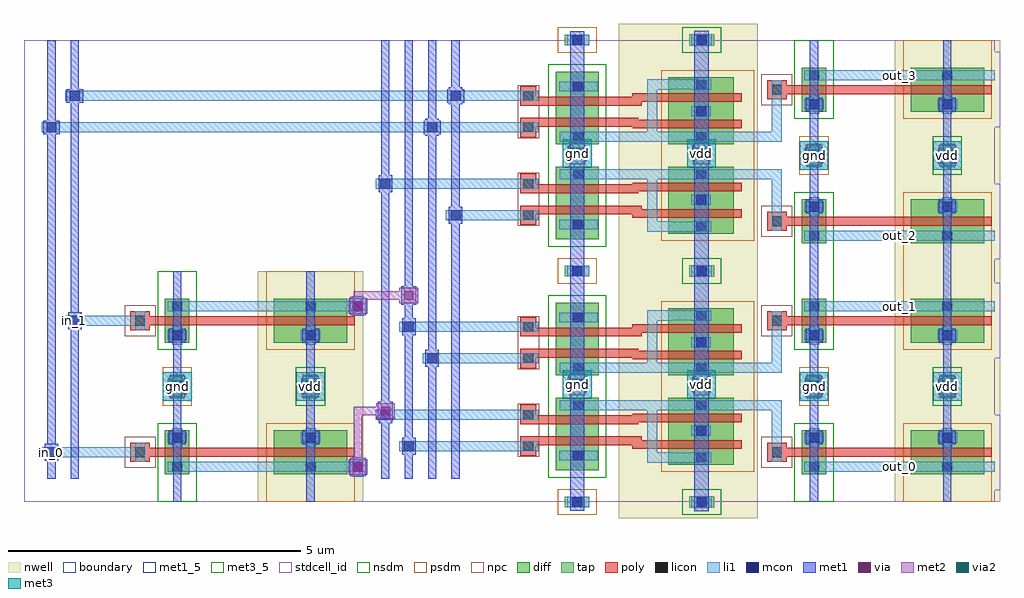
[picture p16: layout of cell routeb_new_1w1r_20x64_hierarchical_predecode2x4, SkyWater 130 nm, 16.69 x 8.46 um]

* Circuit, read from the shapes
.subckt routeb_new_1w1r_20x64_hierarchical_predecode2x4 gnd in_0 in_1 out_0 out_1 out_2 out_3 vdd
XM1 gnd in_0 routeb_new_1w1r_20x64_and2_dec_2/A gnd sky130_fd_pr__nfet_01v8 w=0.42 l=0.15
XM2 routeb_new_1w1r_20x64_and2_dec_2/B in_1 gnd gnd sky130_fd_pr__nfet_01v8 w=0.42 l=0.15
XM3 n1 routeb_new_1w1r_20x64_and2_dec_2/B gnd gnd sky130_fd_pr__nfet_01v8 w=0.74 l=0.15
XM4 routeb_new_1w1r_20x64_and2_dec_2/routeb_new_1w1r_20x64_pinv_dec_1/A routeb_new_1w1r_20x64_and2_dec_2/A n1 gnd sky130_fd_pr__nfet_01v8 w=0.74 l=0.15
XM5 n2 in_0 routeb_new_1w1r_20x64_and2_dec_3/routeb_new_1w1r_20x64_pinv_dec_1/A gnd sky130_fd_pr__nfet_01v8 w=0.74 l=0.15
XM6 gnd routeb_new_1w1r_20x64_and2_dec_2/B n2 gnd sky130_fd_pr__nfet_01v8 w=0.74 l=0.15
XM7 n3 in_1 gnd gnd sky130_fd_pr__nfet_01v8 w=0.74 l=0.15
XM8 routeb_new_1w1r_20x64_and2_dec_4/routeb_new_1w1r_20x64_pinv_dec_1/A routeb_new_1w1r_20x64_and2_dec_2/A n3 gnd sky130_fd_pr__nfet_01v8 w=0.74 l=0.15
XM9 n4 in_0 routeb_new_1w1r_20x64_and2_dec_5/routeb_new_1w1r_20x64_pinv_dec_1/A gnd sky130_fd_pr__nfet_01v8 w=0.74 l=0.15
XM10 gnd in_1 n4 gnd sky130_fd_pr__nfet_01v8 w=0.74 l=0.15
XM11 gnd routeb_new_1w1r_20x64_and2_dec_2/routeb_new_1w1r_20x64_pinv_dec_1/A out_0 gnd sky130_fd_pr__nfet_01v8 w=0.42 l=0.15
XM12 out_1 routeb_new_1w1r_20x64_and2_dec_3/routeb_new_1w1r_20x64_pinv_dec_1/A gnd gnd sky130_fd_pr__nfet_01v8 w=0.42 l=0.15
XM13 gnd routeb_new_1w1r_20x64_and2_dec_4/routeb_new_1w1r_20x64_pinv_dec_1/A out_2 gnd sky130_fd_pr__nfet_01v8 w=0.42 l=0.15
XM14 out_3 routeb_new_1w1r_20x64_and2_dec_5/routeb_new_1w1r_20x64_pinv_dec_1/A gnd gnd sky130_fd_pr__nfet_01v8 w=0.42 l=0.15
XM15 vdd in_0 routeb_new_1w1r_20x64_and2_dec_2/A vdd sky130_fd_pr__pfet_01v8 w=1.26 l=0.15
XM16 routeb_new_1w1r_20x64_and2_dec_2/B in_1 vdd vdd sky130_fd_pr__pfet_01v8 w=1.26 l=0.15
XM17 vdd routeb_new_1w1r_20x64_and2_dec_2/B routeb_new_1w1r_20x64_and2_dec_2/routeb_new_1w1r_20x64_pinv_dec_1/A vdd sky130_fd_pr__pfet_01v8 w=1.12 l=0.15
XM18 routeb_new_1w1r_20x64_and2_dec_2/routeb_new_1w1r_20x64_pinv_dec_1/A routeb_new_1w1r_20x64_and2_dec_2/A vdd vdd sky130_fd_pr__pfet_01v8 w=1.12 l=0.15
XM19 vdd in_0 routeb_new_1w1r_20x64_and2_dec_3/routeb_new_1w1r_20x64_pinv_dec_1/A vdd sky130_fd_pr__pfet_01v8 w=1.12 l=0.15
XM20 routeb_new_1w1r_20x64_and2_dec_3/routeb_new_1w1r_20x64_pinv_dec_1/A routeb_new_1w1r_20x64_and2_dec_2/B vdd vdd sky130_fd_pr__pfet_01v8 w=1.12 l=0.15
XM21 vdd in_1 routeb_new_1w1r_20x64_and2_dec_4/routeb_new_1w1r_20x64_pinv_dec_1/A vdd sky130_fd_pr__pfet_01v8 w=1.12 l=0.15
XM22 routeb_new_1w1r_20x64_and2_dec_4/routeb_new_1w1r_20x64_pinv_dec_1/A routeb_new_1w1r_20x64_and2_dec_2/A vdd vdd sky130_fd_pr__pfet_01v8 w=1.12 l=0.15
XM23 vdd in_0 routeb_new_1w1r_20x64_and2_dec_5/routeb_new_1w1r_20x64_pinv_dec_1/A vdd sky130_fd_pr__pfet_01v8 w=1.12 l=0.15
XM24 routeb_new_1w1r_20x64_and2_dec_5/routeb_new_1w1r_20x64_pinv_dec_1/A in_1 vdd vdd sky130_fd_pr__pfet_01v8 w=1.12 l=0.15
XM25 vdd routeb_new_1w1r_20x64_and2_dec_2/routeb_new_1w1r_20x64_pinv_dec_1/A out_0 vdd sky130_fd_pr__pfet_01v8 w=1.26 l=0.15
XM26 out_1 routeb_new_1w1r_20x64_and2_dec_3/routeb_new_1w1r_20x64_pinv_dec_1/A vdd vdd sky130_fd_pr__pfet_01v8 w=1.26 l=0.15
XM27 vdd routeb_new_1w1r_20x64_and2_dec_4/routeb_new_1w1r_20x64_pinv_dec_1/A out_2 vdd sky130_fd_pr__pfet_01v8 w=1.26 l=0.15
XM28 out_3 routeb_new_1w1r_20x64_and2_dec_5/routeb_new_1w1r_20x64_pinv_dec_1/A vdd vdd sky130_fd_pr__pfet_01v8 w=1.26 l=0.15
.ends

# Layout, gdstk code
from math import pi, radians
import gdstk
lib = gdstk.Library(unit=1e-6, precision=1e-09)
def R(c, l, rs):  # rectangles x0, y0, x1, y1
    for r in rs: c.add(gdstk.rectangle(r[:2], r[2:], *l))
def A(c, l, x, y, w, h, nx, ny, dx, dy):  # array of equal rectangles
    R(c, l, [(x+i*dx, y+j*dy, x+i*dx+w, y+j*dy+h) for i in range(nx) for j in range(ny)])
nwell = (64, 20)
diff = (65, 20)
tap = (65, 44)
poly = (66, 20)
licon = (66, 44)
li1 = (67, 20)
mcon = (67, 44)
met1_5 = (68, 5)
met1 = (68, 20)
via = (68, 44)
met2 = (69, 20)
via2 = (69, 44)
met3_5 = (70, 5)
met3 = (70, 20)
stdcell_id = (81, 4)
nsdm = (93, 44)
psdm = (94, 20)
npc = (95, 20)
boundary = (235, 4)

routeb_new_1w1r_20x64_co = lib.new_cell('routeb_new_1w1r_20x64_contact_11')
R(routeb_new_1w1r_20x64_co, nwell, [(-0.295,-0.255,0.545,0.585)])
R(routeb_new_1w1r_20x64_co, diff, [(0,0.02,0.25,0.31)])
R(routeb_new_1w1r_20x64_co, licon, [(0.04,0.08,0.21,0.25)])
R(routeb_new_1w1r_20x64_co, li1, [(0.04,0,0.21,0.33)])
R(routeb_new_1w1r_20x64_co, stdcell_id, [(-0.295,-0.255,0.545,0.585)])
R(routeb_new_1w1r_20x64_co, psdm, [(-0.125,-0.105,0.375,0.435)])
R(routeb_new_1w1r_20x64_co, boundary, [(-0.295,-0.255,0.545,0.585)])

routeb_new_1w1r_20x64_pm = lib.new_cell('routeb_new_1w1r_20x64_pmos_m1_w1_260_sli_dli_da_p')
R(routeb_new_1w1r_20x64_pm, nwell, [(-0.27,-0.27,1.02,1.53)])
R(routeb_new_1w1r_20x64_pm, diff, [(0,0,0.75,1.26)])
R(routeb_new_1w1r_20x64_pm, poly, [(0.3,-0.13,0.45,1.39), (0.3,-0.13,0.45,1.39)])
R(routeb_new_1w1r_20x64_pm, li1, [(0.04,0.465,0.21,0.795), (0.54,0.465,0.71,0.795)])
R(routeb_new_1w1r_20x64_pm, stdcell_id, [(-0.27,-0.27,1.02,1.53)])
R(routeb_new_1w1r_20x64_pm, psdm, [(-0.125,-0.125,0.875,1.385)])
R(routeb_new_1w1r_20x64_pm, boundary, [(-0.27,-0.27,1.02,1.53)])
routeb_new_1w1r_20x64_pm.add(gdstk.Reference(routeb_new_1w1r_20x64_co, (0,0.465)))
routeb_new_1w1r_20x64_pm.add(gdstk.Reference(routeb_new_1w1r_20x64_co, (0.5,0.465)))
routeb_new_1w1r_20x64_pm.add(gdstk.Label('G', (0.375,0.63), layer=66, texttype=5))
routeb_new_1w1r_20x64_pm.add(gdstk.Label('S', (0.125,0.63), layer=67, texttype=5))
routeb_new_1w1r_20x64_pm.add(gdstk.Label('D', (0.625,0.63), layer=67, texttype=5))

c_routeb_new_1w1r_20x64_co = lib.new_cell('routeb_new_1w1r_20x64_contact_10')
R(c_routeb_new_1w1r_20x64_co, diff, [(0,0.02,0.25,0.31)])
R(c_routeb_new_1w1r_20x64_co, licon, [(0.04,0.08,0.21,0.25)])
R(c_routeb_new_1w1r_20x64_co, li1, [(0.04,0,0.21,0.33)])
R(c_routeb_new_1w1r_20x64_co, stdcell_id, [(-0.125,-0.105,0.375,0.435)])
R(c_routeb_new_1w1r_20x64_co, nsdm, [(-0.125,-0.105,0.375,0.435)])
R(c_routeb_new_1w1r_20x64_co, boundary, [(-0.125,-0.105,0.375,0.435)])

routeb_new_1w1r_20x64_nm = lib.new_cell('routeb_new_1w1r_20x64_nmos_m1_w0_420_sli_dli_da_p')
R(routeb_new_1w1r_20x64_nm, diff, [(0,0,0.75,0.42)])
R(routeb_new_1w1r_20x64_nm, poly, [(0.3,-0.13,0.45,0.55), (0.3,-0.13,0.45,0.55)])
R(routeb_new_1w1r_20x64_nm, li1, [(0.04,0.045,0.21,0.375), (0.54,0.045,0.71,0.375)])
R(routeb_new_1w1r_20x64_nm, stdcell_id, [(-0.125,-0.13,0.875,0.55)])
R(routeb_new_1w1r_20x64_nm, nsdm, [(-0.125,-0.125,0.875,0.545)])
R(routeb_new_1w1r_20x64_nm, boundary, [(-0.125,-0.13,0.875,0.55)])
routeb_new_1w1r_20x64_nm.add(gdstk.Reference(c_routeb_new_1w1r_20x64_co, (0,0.045)))
routeb_new_1w1r_20x64_nm.add(gdstk.Reference(c_routeb_new_1w1r_20x64_co, (0.5,0.045)))
routeb_new_1w1r_20x64_nm.add(gdstk.Label('G', (0.375,0.21), layer=66, texttype=5))
routeb_new_1w1r_20x64_nm.add(gdstk.Label('S', (0.125,0.21), layer=67, texttype=5))
routeb_new_1w1r_20x64_nm.add(gdstk.Label('D', (0.625,0.21), layer=67, texttype=5))

c_routeb_new_1w1r_20x64_co_ = lib.new_cell('routeb_new_1w1r_20x64_contact_12')
R(c_routeb_new_1w1r_20x64_co_, nwell, [(-0.295,-0.215,0.545,0.625)])
R(c_routeb_new_1w1r_20x64_co_, tap, [(0,0,0.25,0.41)])
R(c_routeb_new_1w1r_20x64_co_, licon, [(0.04,0.12,0.21,0.29)])
R(c_routeb_new_1w1r_20x64_co_, li1, [(0.04,0.04,0.21,0.37)])
R(c_routeb_new_1w1r_20x64_co_, stdcell_id, [(-0.295,-0.215,0.545,0.625)])
R(c_routeb_new_1w1r_20x64_co_, nsdm, [(-0.125,-0.125,0.375,0.535)])
R(c_routeb_new_1w1r_20x64_co_, boundary, [(-0.295,-0.215,0.545,0.625)])

c_routeb_new_1w1r_20x64_co__ = lib.new_cell('routeb_new_1w1r_20x64_contact_13')
R(c_routeb_new_1w1r_20x64_co__, li1, [(0.06,0,0.23,0.33)])
R(c_routeb_new_1w1r_20x64_co__, mcon, [(0.06,0.08,0.23,0.25)])
R(c_routeb_new_1w1r_20x64_co__, met1, [(0,0.05,0.29,0.28)])
R(c_routeb_new_1w1r_20x64_co__, stdcell_id, [(0,0,0.29,0.33)])
R(c_routeb_new_1w1r_20x64_co__, boundary, [(0,0,0.29,0.33)])

c_routeb_new_1w1r_20x64_co___ = lib.new_cell('routeb_new_1w1r_20x64_contact_14')
R(c_routeb_new_1w1r_20x64_co___, tap, [(0,0,0.25,0.41)])
R(c_routeb_new_1w1r_20x64_co___, licon, [(0.04,0.12,0.21,0.29)])
R(c_routeb_new_1w1r_20x64_co___, li1, [(0.04,0.04,0.21,0.37)])
R(c_routeb_new_1w1r_20x64_co___, stdcell_id, [(-0.125,-0.125,0.375,0.535)])
R(c_routeb_new_1w1r_20x64_co___, psdm, [(-0.125,-0.125,0.375,0.535)])
R(c_routeb_new_1w1r_20x64_co___, boundary, [(-0.125,-0.125,0.375,0.535)])

c_routeb_new_1w1r_20x64_co____ = lib.new_cell('routeb_new_1w1r_20x64_contact_15')
R(c_routeb_new_1w1r_20x64_co____, poly, [(0,0,0.33,0.33)])
R(c_routeb_new_1w1r_20x64_co____, licon, [(0.08,0.08,0.25,0.25)])
R(c_routeb_new_1w1r_20x64_co____, li1, [(0.08,0,0.25,0.33)])
R(c_routeb_new_1w1r_20x64_co____, stdcell_id, [(-0.1,-0.1,0.43,0.43)])
R(c_routeb_new_1w1r_20x64_co____, npc, [(-0.1,-0.1,0.43,0.43)])
R(c_routeb_new_1w1r_20x64_co____, boundary, [(-0.1,-0.1,0.43,0.43)])

routeb_new_1w1r_20x64_pi = lib.new_cell('routeb_new_1w1r_20x64_pinv_dec')
R(routeb_new_1w1r_20x64_pi, nwell, [(2.4,0,4.2,2.45)])
R(routeb_new_1w1r_20x64_pi, poly, [(0.385,0.775,0.68,0.925), (1.36,0.775,2.54,0.925)])
R(routeb_new_1w1r_20x64_pi, li1, [(0.855,0.515,4.11,0.685), (0.3,0.685,0.47,1.015)])
R(routeb_new_1w1r_20x64_pi, met1_5, [(0.95,0,1.09,1.975), (3.23,0,3.37,1.975)])
R(routeb_new_1w1r_20x64_pi, met1, [(0.95,0,1.09,1.975), (3.23,0,3.37,1.975)])
R(routeb_new_1w1r_20x64_pi, stdcell_id, [(0,0,4.11,1.975), (0,0,4.11,1.975)])
R(routeb_new_1w1r_20x64_pi, nsdm, [(0.685,0,1.355,1.225)])
R(routeb_new_1w1r_20x64_pi, psdm, [(2.545,0,4.055,1.225)])
R(routeb_new_1w1r_20x64_pi, boundary, [(0,0,4.11,1.975), (0,0,4.11,1.975)])
routeb_new_1w1r_20x64_pi.add(gdstk.Reference(routeb_new_1w1r_20x64_pm, (2.67,1.225), rotation=3*pi/2))
routeb_new_1w1r_20x64_pi.add(gdstk.Reference(routeb_new_1w1r_20x64_nm, (0.81,1.225), rotation=3*pi/2))
routeb_new_1w1r_20x64_pi.add(gdstk.Reference(c_routeb_new_1w1r_20x64_co_, (3.175,1.77)))
routeb_new_1w1r_20x64_pi.add(gdstk.Reference(c_routeb_new_1w1r_20x64_co__, (3.155,1.81)))
routeb_new_1w1r_20x64_pi.add(gdstk.Reference(c_routeb_new_1w1r_20x64_co___, (0.895,1.77)))
routeb_new_1w1r_20x64_pi.add(gdstk.Reference(c_routeb_new_1w1r_20x64_co__, (0.875,1.81)))
routeb_new_1w1r_20x64_pi.add(gdstk.Reference(c_routeb_new_1w1r_20x64_co____, (0.22,0.685)))
routeb_new_1w1r_20x64_pi.add(gdstk.Reference(c_routeb_new_1w1r_20x64_co__, (0.875,0.935)))
routeb_new_1w1r_20x64_pi.add(gdstk.Reference(c_routeb_new_1w1r_20x64_co__, (3.155,0.935)))
routeb_new_1w1r_20x64_pi.add(gdstk.Label('A', (0.385,0.85), layer=67, texttype=5))
routeb_new_1w1r_20x64_pi.add(gdstk.Label('Z', (2.482,0.6), layer=67, texttype=5))
routeb_new_1w1r_20x64_pi.add(gdstk.Label('gnd', (1.02,0.988), layer=68, texttype=5))
routeb_new_1w1r_20x64_pi.add(gdstk.Label('vdd', (3.3,0.988), layer=68, texttype=5))

sky130_fd_bd_sram__openr = lib.new_cell('sky130_fd_bd_sram__openram_dp_nand2_dec')
R(sky130_fd_bd_sram__openr, nwell, [(2.06,-0.28,4.44,2.38)])
R(sky130_fd_bd_sram__openr, diff, [(0.98,0.54,1.72,1.78), (2.91,0.64,4.03,1.78)])
R(sky130_fd_bd_sram__openr, tap, [(3.27,-0.095,3.69,0.095), (1.14,-0.09,1.56,0.09)])
R(sky130_fd_bd_sram__openr, poly, [(0.38,0.79,0.65,0.97), (2.29,0.91,4.16,0.97), (0.38,0.97,4.16,1.06), (0.38,1.06,2.45,1.12), (0.38,1.33,2.39,1.36), (0.38,1.36,4.16,1.48), (0.38,1.48,0.65,1.66), (2.3,1.48,4.16,1.51)])
R(sky130_fd_bd_sram__openr, licon, [(1.265,-0.085,1.435,0.085), (3.395,-0.085,3.565,0.085), (3.385,0.68,3.555,0.85), (1.295,0.71,1.465,0.88), (0.43,0.87,0.6,1.04), (3.385,1.13,3.555,1.3), (0.43,1.41,0.6,1.58), (1.285,1.57,1.455,1.74), (3.385,1.57,3.555,1.74)])
R(sky130_fd_bd_sram__openr, li1, [(3.3,-0.095,3.65,0.095), (1.18,-0.09,1.56,0.09), (2.545,0.67,2.86,0.675), (2.545,0.675,3.425,0.68), (2.545,0.68,3.64,0.845), (1.04,0.71,1.7,0.88), (2.545,0.845,2.99,0.85), (3.3,0.845,3.64,0.85), (2.545,0.85,2.715,1.57), (0.35,0.87,0.68,1.04), (0.35,0.87,0.68,1.04), (3.3,1.13,3.635,1.3), (0.35,1.41,0.68,1.58), (0.35,1.41,0.68,1.58), (1.05,1.57,4.44,1.74), (1.05,1.57,4.44,1.74)])
R(sky130_fd_bd_sram__openr, mcon, [(1.265,-0.085,1.435,0.085), (3.395,-0.085,3.565,0.085), (1.27,0.71,1.44,0.88), (3.385,1.13,3.555,1.3)])
R(sky130_fd_bd_sram__openr, met1_5, [(3.35,-0.16,3.6,2.01), (1.23,-0.15,1.47,2.01)])
R(sky130_fd_bd_sram__openr, met1, [(3.35,-0.16,3.6,2.01), (3.35,-0.16,3.6,2.01), (1.23,-0.15,1.47,2.01), (1.23,-0.15,1.47,2.01)])
R(sky130_fd_bd_sram__openr, nsdm, [(3.145,-0.22,3.815,0.22), (0.855,0.415,1.845,1.975)])
R(sky130_fd_bd_sram__openr, psdm, [(1.015,-0.215,1.685,0.215), (2.785,0.515,4.38,1.975)])
R(sky130_fd_bd_sram__openr, npc, [(0.33,0.77,0.7,1.68)])
R(sky130_fd_bd_sram__openr, boundary, [(0,0,4.38,1.975)])
sky130_fd_bd_sram__openr.add(gdstk.Label('GND', (1.34,0.41), layer=68, texttype=16))
sky130_fd_bd_sram__openr.add(gdstk.Label('VDD', (3.48,0.47), layer=68, texttype=16))
sky130_fd_bd_sram__openr.add(gdstk.Label('B', (0.515,0.955), layer=67, texttype=16))
sky130_fd_bd_sram__openr.add(gdstk.Label('A', (0.515,1.495), layer=67, texttype=16))
sky130_fd_bd_sram__openr.add(gdstk.Label('Z', (4.27,1.655), layer=67, texttype=16))
sky130_fd_bd_sram__openr.add(gdstk.Label('A', (0.515,1.495), layer=67, texttype=5))
sky130_fd_bd_sram__openr.add(gdstk.Label('B', (0.515,0.955), layer=67, texttype=5))
sky130_fd_bd_sram__openr.add(gdstk.Label('Z', (2.745,1.655), layer=67, texttype=5))
sky130_fd_bd_sram__openr.add(gdstk.Label('vdd', (3.475,0.925), layer=68, texttype=5))
sky130_fd_bd_sram__openr.add(gdstk.Label('gnd', (1.35,0.93), layer=68, texttype=5))

routeb_new_1w1r_20x64_an = lib.new_cell('routeb_new_1w1r_20x64_and2_dec')
R(routeb_new_1w1r_20x64_an, li1, [(5.235,0.515,8.49,0.685), (4.68,0.85,4.85,1.655), (0.35,0.87,0.68,1.04), (0.35,1.41,0.68,1.58), (2.745,1.57,4.765,1.74), (4.68,1.57,4.85,1.74)])
R(routeb_new_1w1r_20x64_an, met1_5, [(3.35,-0.16,3.6,2.01), (1.23,-0.15,1.47,2.01), (5.33,0,5.47,1.975), (7.61,0,7.75,1.975)])
R(routeb_new_1w1r_20x64_an, met1, [(3.35,-0.16,3.6,2.01), (1.23,-0.15,1.47,2.01), (5.33,0,5.47,1.975), (7.61,0,7.75,1.975)])
R(routeb_new_1w1r_20x64_an, stdcell_id, [(0,0,8.49,1.975)])
R(routeb_new_1w1r_20x64_an, boundary, [(0,0,8.49,1.975)])
routeb_new_1w1r_20x64_an.add(gdstk.Reference(sky130_fd_bd_sram__openr, (0,0)))
routeb_new_1w1r_20x64_an.add(gdstk.Reference(routeb_new_1w1r_20x64_pi, (4.38,0)))
routeb_new_1w1r_20x64_an.add(gdstk.Label('Z', (6.863,0.6), layer=67, texttype=5))
routeb_new_1w1r_20x64_an.add(gdstk.Label('A', (0.515,1.495), layer=67, texttype=5))
routeb_new_1w1r_20x64_an.add(gdstk.Label('B', (0.515,0.955), layer=67, texttype=5))
routeb_new_1w1r_20x64_an.add(gdstk.Label('vdd', (3.475,0.925), layer=68, texttype=5))
routeb_new_1w1r_20x64_an.add(gdstk.Label('vdd', (7.68,0.988), layer=68, texttype=5))
routeb_new_1w1r_20x64_an.add(gdstk.Label('gnd', (5.4,0.988), layer=68, texttype=5))
routeb_new_1w1r_20x64_an.add(gdstk.Label('gnd', (1.35,0.93), layer=68, texttype=5))

c_routeb_new_1w1r_20x64_co_____ = lib.new_cell('routeb_new_1w1r_20x64_contact_16')
R(c_routeb_new_1w1r_20x64_co_____, li1, [(0,0.06,0.33,0.23)])
R(c_routeb_new_1w1r_20x64_co_____, mcon, [(0.08,0.06,0.25,0.23)])
R(c_routeb_new_1w1r_20x64_co_____, met1, [(0.05,0,0.28,0.29)])
R(c_routeb_new_1w1r_20x64_co_____, stdcell_id, [(0,0,0.33,0.29)])
R(c_routeb_new_1w1r_20x64_co_____, boundary, [(0,0,0.33,0.29)])

c_routeb_new_1w1r_20x64_co______ = lib.new_cell('routeb_new_1w1r_20x64_contact_18')
R(c_routeb_new_1w1r_20x64_co______, met1, [(0,0.03,0.32,0.29)])
R(c_routeb_new_1w1r_20x64_co______, via, [(0.085,0.085,0.235,0.235)])
R(c_routeb_new_1w1r_20x64_co______, met2, [(0.03,0,0.29,0.32)])
R(c_routeb_new_1w1r_20x64_co______, stdcell_id, [(0,0,0.32,0.32)])
R(c_routeb_new_1w1r_20x64_co______, boundary, [(0,0,0.32,0.32)])

c_routeb_new_1w1r_20x64_co_______ = lib.new_cell('routeb_new_1w1r_20x64_contact_19')
R(c_routeb_new_1w1r_20x64_co_______, met1, [(0.03,0,0.29,0.32)])
R(c_routeb_new_1w1r_20x64_co_______, via, [(0.085,0.085,0.235,0.235)])
R(c_routeb_new_1w1r_20x64_co_______, met2, [(0,0.03,0.32,0.29)])
R(c_routeb_new_1w1r_20x64_co_______, stdcell_id, [(0,0,0.32,0.32)])
R(c_routeb_new_1w1r_20x64_co_______, boundary, [(0,0,0.32,0.32)])

c_routeb_new_1w1r_20x64_co________ = lib.new_cell('routeb_new_1w1r_20x64_contact_20')
R(c_routeb_new_1w1r_20x64_co________, li1, [(0,0.03,0.33,0.2)])
R(c_routeb_new_1w1r_20x64_co________, mcon, [(0.08,0.03,0.25,0.2)])
R(c_routeb_new_1w1r_20x64_co________, met1, [(0.02,0,0.31,0.23)])
R(c_routeb_new_1w1r_20x64_co________, stdcell_id, [(0,0,0.33,0.23)])
R(c_routeb_new_1w1r_20x64_co________, boundary, [(0,0,0.33,0.23)])

c_routeb_new_1w1r_20x64_co_________ = lib.new_cell('routeb_new_1w1r_20x64_contact_21')
R(c_routeb_new_1w1r_20x64_co_________, met2, [(0.025,0,0.305,0.37)])
R(c_routeb_new_1w1r_20x64_co_________, via2, [(0.065,0.085,0.265,0.285)])
R(c_routeb_new_1w1r_20x64_co_________, met3, [(0,0.02,0.33,0.35)])
R(c_routeb_new_1w1r_20x64_co_________, stdcell_id, [(0,0,0.33,0.37)])
R(c_routeb_new_1w1r_20x64_co_________, boundary, [(0,0,0.33,0.37)])

routeb_new_1w1r_20x64_hi = lib.new_cell('routeb_new_1w1r_20x64_hierarchical_predecode2x4')
R(routeb_new_1w1r_20x64_hi, li1, [(13.345,0.515,16.6,0.685), (0.47,0.765,1.985,0.935), (1.9,0.765,2.07,0.935), (6.58,0.87,8.625,1.04), (8.54,0.87,8.71,1.04), (6.18,1.41,8.625,1.58), (8.54,1.41,8.71,1.58), (6.98,2.37,8.625,2.54), (8.54,2.37,8.71,2.54), (6.58,2.91,8.625,3.08), (8.54,2.91,8.71,3.08), (0.87,3.015,1.985,3.185), (1.9,3.015,2.07,3.185), (13.345,3.265,16.6,3.435), (13.345,4.465,16.6,4.635), (7.38,4.82,8.625,4.99), (8.54,4.82,8.71,4.99), (6.18,5.36,8.625,5.53), (8.54,5.36,8.71,5.53), (0.47,6.32,6.98,6.49), (6.98,6.32,8.625,6.49), (8.54,6.32,8.71,6.49), (0.87,6.86,7.38,7.03), (7.38,6.86,8.625,7.03), (8.54,6.86,8.71,7.03), (13.345,7.215,16.6,7.385)])
R(routeb_new_1w1r_20x64_hi, met1_5, [(0.355,0.705,0.585,0.995), (0.755,2.955,0.985,3.245)])
A(routeb_new_1w1r_20x64_hi, met1, 6.11, 0.4, 0.14, 7.5, 4, 1, 0.4, 0)
R(routeb_new_1w1r_20x64_hi, met1, [(0.4,0.4,0.54,7.9), (0.8,0.4,0.94,7.9), (2.55,0.4,2.69,3.95), (4.83,0.4,4.97,3.95), (9.34,0.4,9.58,8.05), (11.46,0.4,11.71,8.06), (13.44,0.4,13.58,7.9), (15.72,0.4,15.86,7.9), (5.55,0.47,5.87,0.73), (0.355,0.705,0.585,0.995), (0.755,2.955,0.985,3.245), (5.55,3.22,5.87,3.48)])
R(routeb_new_1w1r_20x64_hi, met2, [(5.64,0.6,5.78,1.555), (5.64,1.485,5.78,1.625), (5.71,1.485,6.18,1.625), (2.48,1.85,2.76,2.095), (2.48,1.85,2.76,2.095), (4.76,1.85,5.04,2.095), (4.76,1.85,5.04,2.095), (13.37,1.85,13.65,2.095), (15.65,1.85,15.93,2.095), (9.32,1.89,9.6,2.135), (11.445,1.89,11.725,2.135), (5.64,3.35,5.78,3.53), (5.64,3.46,5.78,3.6), (5.71,3.46,6.58,3.6), (13.37,5.8,13.65,6.045), (15.65,5.8,15.93,6.045), (9.32,5.84,9.6,6.085), (11.445,5.84,11.725,6.085)])
R(routeb_new_1w1r_20x64_hi, met3_5, [(2.375,1.73,2.865,2.22), (4.655,1.73,5.145,2.22), (13.265,1.73,13.755,2.22), (15.545,1.73,16.035,2.22), (9.215,1.765,9.705,2.255), (11.34,1.765,11.83,2.255), (13.265,5.68,13.755,6.17), (15.545,5.68,16.035,6.17), (9.215,5.715,9.705,6.205), (11.34,5.715,11.83,6.205)])
R(routeb_new_1w1r_20x64_hi, met3, [(2.375,1.73,2.865,2.22), (4.655,1.73,5.145,2.22), (13.265,1.73,13.755,2.22), (15.545,1.73,16.035,2.22), (9.215,1.765,9.705,2.255), (11.34,1.765,11.83,2.255), (13.265,5.68,13.755,6.17), (15.545,5.68,16.035,6.17), (9.215,5.715,9.705,6.205), (11.34,5.715,11.83,6.205)])
R(routeb_new_1w1r_20x64_hi, stdcell_id, [(0,0,16.6,7.9)])
R(routeb_new_1w1r_20x64_hi, boundary, [(0,0,16.6,7.9)])
routeb_new_1w1r_20x64_hi.add(gdstk.Reference(routeb_new_1w1r_20x64_pi, (1.6,0)))
routeb_new_1w1r_20x64_hi.add(gdstk.Reference(routeb_new_1w1r_20x64_pi, (1.6,3.95), x_reflection=True))
routeb_new_1w1r_20x64_hi.add(gdstk.Reference(routeb_new_1w1r_20x64_an, (8.11,0)))
routeb_new_1w1r_20x64_hi.add(gdstk.Reference(routeb_new_1w1r_20x64_an, (8.11,3.95), x_reflection=True))
routeb_new_1w1r_20x64_hi.add(gdstk.Reference(routeb_new_1w1r_20x64_an, (8.11,3.95)))
routeb_new_1w1r_20x64_hi.add(gdstk.Reference(routeb_new_1w1r_20x64_an, (8.11,7.9), x_reflection=True))
routeb_new_1w1r_20x64_hi.add(gdstk.Reference(c_routeb_new_1w1r_20x64_co_____, (0.305,0.705)))
routeb_new_1w1r_20x64_hi.add(gdstk.Reference(c_routeb_new_1w1r_20x64_co_____, (0.705,2.955)))
routeb_new_1w1r_20x64_hi.add(gdstk.Reference(c_routeb_new_1w1r_20x64_co_____, (6.015,1.35)))
routeb_new_1w1r_20x64_hi.add(gdstk.Reference(c_routeb_new_1w1r_20x64_co_____, (6.415,0.81)))
routeb_new_1w1r_20x64_hi.add(gdstk.Reference(c_routeb_new_1w1r_20x64_co_____, (6.815,2.31)))
routeb_new_1w1r_20x64_hi.add(gdstk.Reference(c_routeb_new_1w1r_20x64_co_____, (6.415,2.85)))
routeb_new_1w1r_20x64_hi.add(gdstk.Reference(c_routeb_new_1w1r_20x64_co_____, (6.015,5.3)))
routeb_new_1w1r_20x64_hi.add(gdstk.Reference(c_routeb_new_1w1r_20x64_co_____, (7.215,4.76)))
routeb_new_1w1r_20x64_hi.add(gdstk.Reference(c_routeb_new_1w1r_20x64_co_____, (6.815,6.26)))
routeb_new_1w1r_20x64_hi.add(gdstk.Reference(c_routeb_new_1w1r_20x64_co_____, (7.215,6.8)))
routeb_new_1w1r_20x64_hi.add(gdstk.Reference(c_routeb_new_1w1r_20x64_co__, (5.565,0.435)))
routeb_new_1w1r_20x64_hi.add(gdstk.Reference(c_routeb_new_1w1r_20x64_co______, (5.55,0.44)))
routeb_new_1w1r_20x64_hi.add(gdstk.Reference(c_routeb_new_1w1r_20x64_co_______, (6.02,1.395)))
routeb_new_1w1r_20x64_hi.add(gdstk.Reference(c_routeb_new_1w1r_20x64_co__, (5.565,3.185)))
routeb_new_1w1r_20x64_hi.add(gdstk.Reference(c_routeb_new_1w1r_20x64_co______, (5.55,3.19)))
routeb_new_1w1r_20x64_hi.add(gdstk.Reference(c_routeb_new_1w1r_20x64_co_______, (6.42,3.37)))
routeb_new_1w1r_20x64_hi.add(gdstk.Reference(c_routeb_new_1w1r_20x64_co________, (0.305,6.29)))
routeb_new_1w1r_20x64_hi.add(gdstk.Reference(c_routeb_new_1w1r_20x64_co________, (6.815,6.29)))
routeb_new_1w1r_20x64_hi.add(gdstk.Reference(c_routeb_new_1w1r_20x64_co________, (0.705,6.83)))
routeb_new_1w1r_20x64_hi.add(gdstk.Reference(c_routeb_new_1w1r_20x64_co________, (7.215,6.83)))
routeb_new_1w1r_20x64_hi.add(gdstk.Reference(c_routeb_new_1w1r_20x64_co______, (4.74,1.815)))
routeb_new_1w1r_20x64_hi.add(gdstk.Reference(c_routeb_new_1w1r_20x64_co_________, (4.735,1.79)))
routeb_new_1w1r_20x64_hi.add(gdstk.Reference(c_routeb_new_1w1r_20x64_co______, (4.74,1.815)))
routeb_new_1w1r_20x64_hi.add(gdstk.Reference(c_routeb_new_1w1r_20x64_co_________, (4.735,1.79)))
routeb_new_1w1r_20x64_hi.add(gdstk.Reference(c_routeb_new_1w1r_20x64_co______, (11.425,1.85)))
routeb_new_1w1r_20x64_hi.add(gdstk.Reference(c_routeb_new_1w1r_20x64_co_________, (11.42,1.825)))
routeb_new_1w1r_20x64_hi.add(gdstk.Reference(c_routeb_new_1w1r_20x64_co______, (15.63,1.815)))
routeb_new_1w1r_20x64_hi.add(gdstk.Reference(c_routeb_new_1w1r_20x64_co_________, (15.625,1.79)))
routeb_new_1w1r_20x64_hi.add(gdstk.Reference(c_routeb_new_1w1r_20x64_co______, (11.425,5.8)))
routeb_new_1w1r_20x64_hi.add(gdstk.Reference(c_routeb_new_1w1r_20x64_co_________, (11.42,5.775)))
routeb_new_1w1r_20x64_hi.add(gdstk.Reference(c_routeb_new_1w1r_20x64_co______, (15.63,5.765)))
routeb_new_1w1r_20x64_hi.add(gdstk.Reference(c_routeb_new_1w1r_20x64_co_________, (15.625,5.74)))
routeb_new_1w1r_20x64_hi.add(gdstk.Reference(c_routeb_new_1w1r_20x64_co______, (2.46,1.815)))
routeb_new_1w1r_20x64_hi.add(gdstk.Reference(c_routeb_new_1w1r_20x64_co_________, (2.455,1.79)))
routeb_new_1w1r_20x64_hi.add(gdstk.Reference(c_routeb_new_1w1r_20x64_co______, (2.46,1.815)))
routeb_new_1w1r_20x64_hi.add(gdstk.Reference(c_routeb_new_1w1r_20x64_co_________, (2.455,1.79)))
routeb_new_1w1r_20x64_hi.add(gdstk.Reference(c_routeb_new_1w1r_20x64_co______, (13.35,1.815)))
routeb_new_1w1r_20x64_hi.add(gdstk.Reference(c_routeb_new_1w1r_20x64_co_________, (13.345,1.79)))
routeb_new_1w1r_20x64_hi.add(gdstk.Reference(c_routeb_new_1w1r_20x64_co______, (9.3,1.85)))
routeb_new_1w1r_20x64_hi.add(gdstk.Reference(c_routeb_new_1w1r_20x64_co_________, (9.295,1.825)))
routeb_new_1w1r_20x64_hi.add(gdstk.Reference(c_routeb_new_1w1r_20x64_co______, (13.35,5.765)))
routeb_new_1w1r_20x64_hi.add(gdstk.Reference(c_routeb_new_1w1r_20x64_co_________, (13.345,5.74)))
routeb_new_1w1r_20x64_hi.add(gdstk.Reference(c_routeb_new_1w1r_20x64_co______, (9.3,5.8)))
routeb_new_1w1r_20x64_hi.add(gdstk.Reference(c_routeb_new_1w1r_20x64_co_________, (9.295,5.775)))
routeb_new_1w1r_20x64_hi.add(gdstk.Label('in_0', (0.47,0.85), layer=68, texttype=5))
routeb_new_1w1r_20x64_hi.add(gdstk.Label('in_1', (0.87,3.1), layer=68, texttype=5))
routeb_new_1w1r_20x64_hi.add(gdstk.Label('out_0', (14.972,0.6), layer=67, texttype=5))
routeb_new_1w1r_20x64_hi.add(gdstk.Label('out_1', (14.972,3.35), layer=67, texttype=5))
routeb_new_1w1r_20x64_hi.add(gdstk.Label('out_2', (14.972,4.55), layer=67, texttype=5))
routeb_new_1w1r_20x64_hi.add(gdstk.Label('out_3', (14.972,7.3), layer=67, texttype=5))
routeb_new_1w1r_20x64_hi.add(gdstk.Label('vdd', (15.79,1.975), layer=70, texttype=5))
routeb_new_1w1r_20x64_hi.add(gdstk.Label('vdd', (11.585,5.96), layer=70, texttype=5))
routeb_new_1w1r_20x64_hi.add(gdstk.Label('vdd', (15.79,5.925), layer=70, texttype=5))
routeb_new_1w1r_20x64_hi.add(gdstk.Label('vdd', (4.9,1.975), layer=70, texttype=5))
routeb_new_1w1r_20x64_hi.add(gdstk.Label('vdd', (11.585,2.01), layer=70, texttype=5))
routeb_new_1w1r_20x64_hi.add(gdstk.Label('gnd', (9.46,5.96), layer=70, texttype=5))
routeb_new_1w1r_20x64_hi.add(gdstk.Label('gnd', (9.46,2.01), layer=70, texttype=5))
routeb_new_1w1r_20x64_hi.add(gdstk.Label('gnd', (13.51,1.975), layer=70, texttype=5))
routeb_new_1w1r_20x64_hi.add(gdstk.Label('gnd', (2.62,1.975), layer=70, texttype=5))
routeb_new_1w1r_20x64_hi.add(gdstk.Label('gnd', (13.51,5.925), layer=70, texttype=5))

lib.write_gds('routeb_new_1w1r_20x64_hierarchical_predecode2x4.gds')
